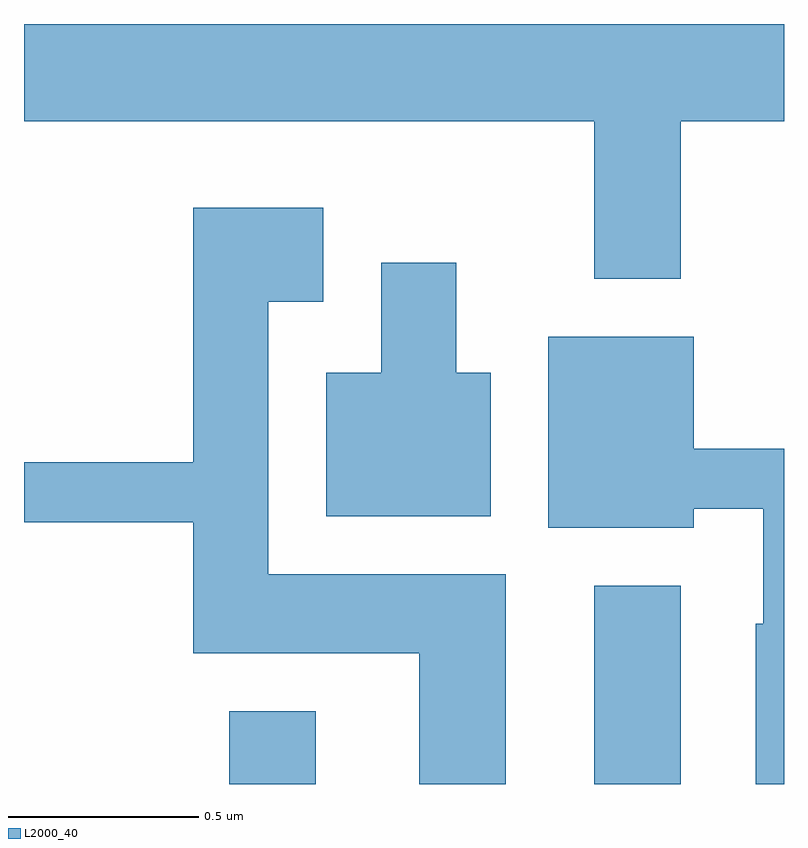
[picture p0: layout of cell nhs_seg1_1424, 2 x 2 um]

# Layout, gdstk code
import gdstk
lib = gdstk.Library(unit=1e-6, precision=1e-09)
def R(c, l, rs):  # rectangles x0, y0, x1, y1
    for r in rs: c.add(gdstk.rectangle(r[:2], r[2:], *l))
def P(c, l, *ps):  # polygons
    for p in ps: c.add(gdstk.Polygon(p, *l))
L2000_40 = (2000, 40)

nhs_seg1_1424 = lib.new_cell('nhs_seg1_1424')
R(nhs_seg1_1424, L2000_40, [(196.151,906.712,196.379,906.904), (197.111,906.712,197.339,907.234)])
P(nhs_seg1_1424, L2000_40, [(197.339,908.456),(197.611,908.456),(197.611,908.712),(195.611,908.712),(195.611,908.456),(197.111,908.456),(197.111,908.041),(197.339,908.041)],
  [(196.879,907.264),(196.254,907.264),(196.254,907.981),(196.399,907.981),(196.399,908.229),(196.056,908.229),(196.056,907.559),(195.611,907.559),(195.611,907.401),(196.056,907.401),(196.056,907.056),(196.651,907.056),(196.651,906.712),(196.879,906.712)],
  [(196.839,907.794),(196.749,907.794),(196.749,908.084),(196.551,908.084),(196.551,907.794),(196.406,907.794),(196.406,907.416),(196.839,907.416)],
  [(197.611,907.594),(197.374,907.594),(197.374,907.889),(196.991,907.889),(196.991,907.386),(197.374,907.386),(197.374,907.436),(197.556,907.436),(197.556,907.134),(197.536,907.134),(197.536,906.712),(197.611,906.712)])

lib.write_gds('nhs_seg1_1424.gds')
